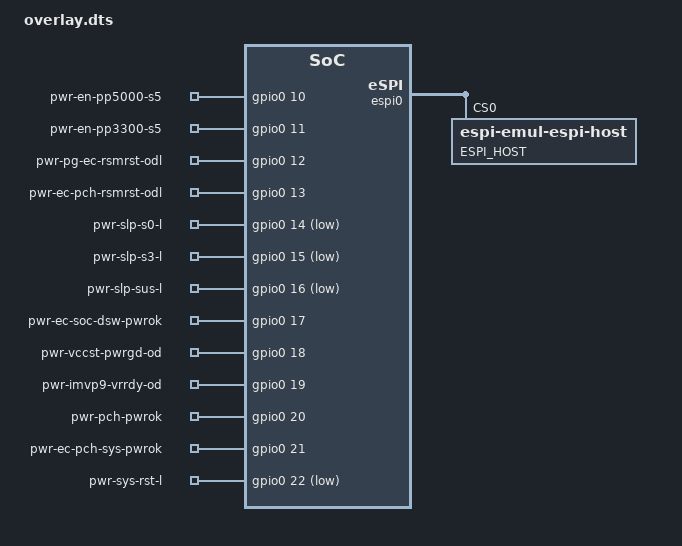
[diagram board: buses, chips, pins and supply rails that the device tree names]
/* Copyright 2022 The Chromium OS Authors. All rights reserved.
 * Use of this source code is governed by a BSD-style license that can be
 * found in the LICENSE file.
 */

#include <cros/binman.dtsi>
#include <dt-bindings/gpio_defines.h>
#include <freq.h>

/ {
	chosen {
		cros-ec,espi = &espi0;
		intel-ap-pwrseq,espi = &espi0;
	};

	/*
	 * Keep these GPIOs in pin order.
	 * If you need to add one, make sure you increase
	 * ngpios in the gpio0 node further down.
	 */
	named-gpios {
		compatible = "named-gpios";

		gpio_ec_pwr_btn_odl: ec_pwr_btn_odl {
			/* GPIO_PULL_UP will cause this start asserted,
			 * i.e. not pressed.
			 */
			gpios = <&gpio0 1 (GPIO_INPUT | GPIO_PULL_UP)>;
			enum-name = "GPIO_POWER_BUTTON_L";
		};
		gpio_pch_pwrbtn_l: pch_pwrbtn_l {
			gpios = <&gpio0 2 GPIO_OUTPUT>;
			enum-name = "GPIO_PCH_PWRBTN_L";
		};
		gpio_ec_pch_wake_odl: ec_pch_wake_odl {
			gpios = <&gpio0 3 GPIO_OUT_HIGH>;
		};
		gpio_lid_open_ec: lid_open_ec {
			/* GPIO_PULL_UP will cause this start asserted. */
			gpios = <&gpio0 4 (GPIO_INPUT | GPIO_PULL_UP)>;
			enum-name = "GPIO_LID_OPEN";
		};
	};

	common-pwrseq {
		compatible = "intel,ap-pwrseq";
	};

	pwr-en-pp5000-s5 {
		compatible = "intel,ap-pwrseq-gpio";
		dbg-label = "PP5000_S5 enable output to regulator";
		enum-name = "PWR_EN_PP5000_A";
		gpios = <&gpio0 10 0>;
		output;
	};
	pwr-en-pp3300-s5 {
		compatible = "intel,ap-pwrseq-gpio";
		dbg-label = "PP3300_S5 enable output to LS";
		enum-name = "PWR_EN_PP3300_A";
		gpios = <&gpio0 11 0>;
		output;
	};
	pwr-pg-ec-rsmrst-odl {
		compatible = "intel,ap-pwrseq-gpio";
		dbg-label = "RSMRST power good from regulator";
		enum-name = "PWR_RSMRST";
		gpios = <&gpio0 12 0>;
		interrupt-flags = <GPIO_INT_EDGE_BOTH>;
	};
	pwr-ec-pch-rsmrst-odl {
		compatible = "intel,ap-pwrseq-gpio";
		dbg-label = "RSMRST output to PCH";
		enum-name = "PWR_EC_PCH_RSMRST";
		gpios = <&gpio0 13 0>;
		output;
	};
	pwr-slp-s0-l {
		compatible = "intel,ap-pwrseq-gpio";
		dbg-label = "SLP_S0_L input from PCH";
		enum-name = "PWR_SLP_S0";
		gpios = <&gpio0 14 GPIO_ACTIVE_LOW>;
		interrupt-flags = <GPIO_INT_EDGE_BOTH>;
		no-enable;
	};
	pwr-slp-s3-l {
		compatible = "intel,ap-pwrseq-gpio";
		dbg-label = "SLP_S3_L input from PCH";
		enum-name = "PWR_SLP_S3";
		gpios = <&gpio0 15 GPIO_ACTIVE_LOW>;
		interrupt-flags = <GPIO_INT_EDGE_BOTH>;
	};
	pwr-slp-sus-l {
		compatible = "intel,ap-pwrseq-gpio";
		dbg-label = "SLP_SUS_L input from PCH";
		enum-name = "PWR_SLP_SUS";
		gpios = <&gpio0 16 GPIO_ACTIVE_LOW>;
		interrupt-flags = <GPIO_INT_EDGE_BOTH>;
	};
	pwr-ec-soc-dsw-pwrok {
		compatible = "intel,ap-pwrseq-gpio";
		dbg-label = "DSW_PWROK output to PCH";
		enum-name = "PWR_EC_SOC_DSW_PWROK";
		gpios = <&gpio0 17 0>;
		output;
	};
	pwr-vccst-pwrgd-od {
		compatible = "intel,ap-pwrseq-gpio";
		dbg-label = "VCCST_PWRGD output to PCH";
		enum-name = "PWR_VCCST_PWRGD";
		gpios = <&gpio0 18 0>;
		output;
	};
	pwr-imvp9-vrrdy-od {
		compatible = "intel,ap-pwrseq-gpio";
		dbg-label = "VRRDY input from IMVP9";
		enum-name = "PWR_IMVP9_VRRDY";
		gpios = <&gpio0 19 0>;
	};
	pwr-pch-pwrok {
		compatible = "intel,ap-pwrseq-gpio";
		dbg-label = "PCH_PWROK output to PCH";
		enum-name = "PWR_PCH_PWROK";
		gpios = <&gpio0 20 0>;
		output;
	};
	pwr-ec-pch-sys-pwrok {
		compatible = "intel,ap-pwrseq-gpio";
		dbg-label = "SYS_PWROK output to PCH";
		enum-name = "PWR_EC_PCH_SYS_PWROK";
		gpios = <&gpio0 21 0>;
		output;
	};
	pwr-sys-rst-l {
		compatible = "intel,ap-pwrseq-gpio";
		dbg-label = "SYS_RESET# output to PCH";
		enum-name = "PWR_SYS_RST";
		gpios = <&gpio0 22 GPIO_ACTIVE_LOW>;
		output;
	};
	pwr-slp-s4 {
		compatible = "intel,ap-pwrseq-vw";
		dbg-label = "SLP_S4 virtual wire input from PCH";
		enum-name = "PWR_SLP_S4";
		virtual-wire = "ESPI_VWIRE_SIGNAL_SLP_S4";
		vw-invert;
	};
	pwr-slp-s5 {
		compatible = "intel,ap-pwrseq-vw";
		dbg-label = "SLP_S5 virtual wire input from PCH";
		enum-name = "PWR_SLP_S5";
		virtual-wire = "ESPI_VWIRE_SIGNAL_SLP_S5";
		vw-invert;
	};
	pwr-all-sys-pwrgd {
		compatible = "intel,ap-pwrseq-external";
		dbg-label = "Combined all power good";
		enum-name = "PWR_ALL_SYS_PWRGD";
	};
	pwr-pp3300-pwrok {
		compatible = "intel,ap-pwrseq-external";
		dbg-label = "PP3300 PWROK";
		enum-name = "PWR_DSW_PWROK";
	};
	pwr-pp1p05-pwrok {
		compatible = "intel,ap-pwrseq-external";
		dbg-label = "PP1P05 PWROK";
		enum-name = "PWR_PG_PP1P05";
	};

	clock: clock {
		compatible = "cros,clock-control-emul";
		clock-frequency = <DT_FREQ_M(100)>; /* 100 MHz */
	};
};

&espi0 {
	espi-host@0 {
		status = "okay";
		compatible = "zephyr,espi-emul-espi-host";
		reg = <0x0>;
		label = "ESPI_HOST";
	};
};

&gpio0 {
	ngpios = <23>;
};
